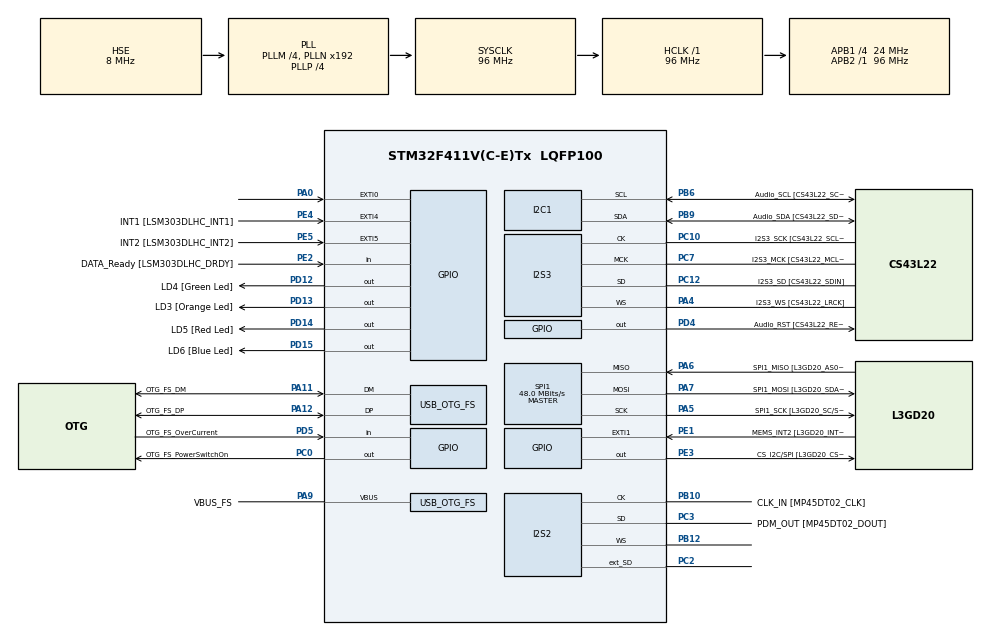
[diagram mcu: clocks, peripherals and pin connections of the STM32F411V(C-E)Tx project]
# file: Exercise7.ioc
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FREERTOS.Tasks01=GreenLEDTask,0,128,StartGreenLEDTask,Default,NULL,Dynamic,NULL,NULL;RedLEDTask,0,128,StartRedLEDTask,Default,NULL,Dynamic,NULL,NULL;OrangeLEDTask,1,128,StartOrangeLEDTask,Default,NULL,Dynamic,NULL,NULL
I2S2.AudioFreq=I2S_AUDIOFREQ_96K
I2S2.ErrorAudioFreq=0.15 %
I2S2.FullDuplexMode=I2S_FULLDUPLEXMODE_ENABLE
I2S2.Instance=SPI$Index
I2S2.RealAudioFreq=96.153 KHz
I2S2.VirtualMode=I2S_MODE_MASTER
I2S3.AudioFreq=I2S_AUDIOFREQ_96K
I2S3.ErrorAudioFreq=-6.99 %
I2S3.FullDuplexMode=I2S_FULLDUPLEXMODE_DISABLE
I2S3.Instance=SPI$Index
I2S3.RealAudioFreq=89.285 KHz
I2S3.VirtualMode=I2S_MODE_MASTER
Mcu.Family=STM32F4
Mcu.Name=STM32F411V(C-E)Tx
Mcu.Package=LQFP100
NVIC.OTG_FS_IRQn=true\:5\:0\:false\:false\:true\:true\:true\:true
NVIC.PriorityGroup=NVIC_PRIORITYGROUP_4
NVIC.TIM1_UP_TIM10_IRQn=true\:0\:0\:false\:false\:true\:false\:false\:true
NVIC.TimeBase=TIM1_UP_TIM10_IRQn
NVIC.TimeBaseIP=TIM1
PA0-WKUP.GPIO_ModeDefaultEXTI=GPIO_MODE_EVT_RISING
PA0-WKUP.Signal=GPXTI0
PA10.GPIO_Label=OTG_FS_ID
PA10.Signal=USB_OTG_FS_ID
PA11.GPIO_Label=OTG_FS_DM
PA11.Mode=Host_Only
PA11.Signal=USB_OTG_FS_DM
PA12.GPIO_Label=OTG_FS_DP
PA12.Mode=Host_Only
PA12.Signal=USB_OTG_FS_DP
PA13.GPIO_Label=SWDIO
PA13.Mode=Serial_Wire
PA13.Signal=SYS_JTMS-SWDIO
PA14.GPIO_Label=SWCLK
PA14.Mode=Serial_Wire
PA14.Signal=SYS_JTCK-SWCLK
PA4.GPIO_Label=I2S3_WS [CS43L22_LRCK]
PA4.GPIO_Mode=GPIO_MODE_AF_PP
PA4.GPIO_PuPd=GPIO_NOPULL
PA4.GPIO_Speed=GPIO_SPEED_FREQ_LOW
PA4.Mode=Half_Duplex_Master
PA4.Signal=I2S3_WS
PA5.GPIO_Label=SPI1_SCK [L3GD20_SC/SPC]
PA5.Mode=Full_Duplex_Master
PA5.Signal=SPI1_SCK
PA6.GPIO_Label=SPI1_MISO [L3GD20_AS0/SDO]
PA6.Mode=Full_Duplex_Master
PA6.Signal=SPI1_MISO
PA7.GPIO_Label=SPI1_MOSI [L3GD20_SDA/SDI/SDO]
PA7.Mode=Full_Duplex_Master
PA7.Signal=SPI1_MOSI
PA9.GPIO_Label=VBUS_FS
PA9.Mode=Activate_VBUS
PA9.Signal=USB_OTG_FS_VBUS
PB10.GPIO_Label=CLK_IN [MP45DT02_CLK]
PB10.Mode=Full_Duplex_Master
PB10.Signal=I2S2_CK
PB12.Mode=Full_Duplex_Master
PB12.Signal=I2S2_WS
PB3.GPIO_Label=SWO
PB3.Signal=SYS_JTDO-SWO
PB6.GPIO_Label=Audio_SCL [CS43L22_SCL]
PB6.GPIO_Mode=GPIO_MODE_AF_OD
PB6.GPIO_PuPd=GPIO_NOPULL
PB6.GPIO_Speed=GPIO_SPEED_FREQ_LOW
PB6.Mode=I2C
PB6.Signal=I2C1_SCL
PB9.GPIO_Label=Audio_SDA [CS43L22_SDA]
PB9.GPIO_Mode=GPIO_MODE_AF_OD
PB9.GPIO_PuPd=GPIO_NOPULL
PB9.GPIO_Speed=GPIO_SPEED_FREQ_LOW
PB9.Mode=I2C
PB9.Signal=I2C1_SDA
PC0.GPIO_Label=OTG_FS_PowerSwitchOn
PC0.PinState=GPIO_PIN_SET
PC0.Signal=GPIO_Output
PC10.GPIO_Label=I2S3_SCK [CS43L22_SCLK]
PC10.GPIO_Mode=GPIO_MODE_AF_PP
PC10.GPIO_PuPd=GPIO_NOPULL
PC10.GPIO_Speed=GPIO_SPEED_FREQ_LOW
PC10.Mode=Half_Duplex_Master
PC10.Signal=I2S3_CK
PC12.GPIO_Label=I2S3_SD [CS43L22_SDIN]
PC12.GPIO_Mode=GPIO_MODE_AF_PP
PC12.GPIO_PuPd=GPIO_NOPULL
PC12.GPIO_Speed=GPIO_SPEED_FREQ_LOW
PC12.Mode=Half_Duplex_Master
PC12.Signal=I2S3_SD
PC14-OSC32_IN.GPIO_Label=PC14-OSC32_IN
PC14-OSC32_IN.Mode=LSE-External-Oscillator
PC14-OSC32_IN.Signal=RCC_OSC32_IN
PC15-OSC32_OUT.GPIO_Label=PC15-OSC32_OUT
PC15-OSC32_OUT.Mode=LSE-External-Oscillator
PC15-OSC32_OUT.Signal=RCC_OSC32_OUT
PC2.Mode=Full_Duplex_Master
PC2.Signal=I2S2_ext_SD
PC3.GPIO_Label=PDM_OUT [MP45DT02_DOUT]
PC3.Mode=Full_Duplex_Master
PC3.Signal=I2S2_SD
PC7.GPIO_Label=I2S3_MCK [CS43L22_MCLK]
PC7.GPIO_Mode=GPIO_MODE_AF_PP
PC7.GPIO_PuPd=GPIO_NOPULL
PC7.GPIO_Speed=GPIO_SPEED_FREQ_LOW
PC7.Mode=Master_Clock_Activated
PC7.Signal=I2S3_MCK
PD12.GPIO_Label=LD4 [Green Led]
PD12.GPIO_PuPd=GPIO_NOPULL
PD12.GPIO_Speed=GPIO_SPEED_FREQ_LOW
PD12.Signal=GPIO_Output
PD13.GPIO_Label=LD3 [Orange Led]
PD13.GPIO_PuPd=GPIO_NOPULL
PD13.GPIO_Speed=GPIO_SPEED_FREQ_LOW
PD13.Signal=GPIO_Output
PD14.GPIO_Label=LD5 [Red Led]
PD14.GPIO_PuPd=GPIO_NOPULL
PD14.GPIO_Speed=GPIO_SPEED_FREQ_LOW
PD14.Signal=GPIO_Output
PD15.GPIO_Label=LD6 [Blue Led]
PD15.GPIO_PuPd=GPIO_NOPULL
PD15.GPIO_Speed=GPIO_SPEED_FREQ_LOW
PD15.Signal=GPIO_Output
PD4.GPIO_Label=Audio_RST [CS43L22_RESET]
PD4.Signal=GPIO_Output
PD5.GPIO_Label=OTG_FS_OverCurrent
PD5.Signal=GPIO_Input
PE1.GPIO_Label=MEMS_INT2 [L3GD20_INT2]
PE1.GPIO_ModeDefaultEXTI=GPIO_MODE_EVT_RISING
PE1.Signal=GPXTI1
PE2.GPIO_Label=DATA_Ready [LSM303DLHC_DRDY]
PE2.Signal=GPIO_Input
PE3.GPIO_Label=CS_I2C/SPI [L3GD20_CS_I2C/SPI]
PE3.Signal=GPIO_Output
PE4.GPIO_Label=INT1 [LSM303DLHC_INT1]
PE4.GPIO_ModeDefaultEXTI=GPIO_MODE_EVT_RISING
PE4.Signal=GPXTI4
PE5.GPIO_Label=INT2 [LSM303DLHC_INT2]
PE5.GPIO_ModeDefaultEXTI=GPIO_MODE_EVT_RISING
PE5.Signal=GPXTI5
PH0\ -\ OSC_IN.GPIO_Label=PH0-OSC_IN
PH0\ -\ OSC_IN.Mode=HSE-External-Oscillator
PH0\ -\ OSC_IN.Signal=RCC_OSC_IN
PH1\ -\ OSC_OUT.GPIO_Label=PH1-OSC_OUT
PH1\ -\ OSC_OUT.Mode=HSE-External-Oscillator
PH1\ -\ OSC_OUT.Signal=RCC_OSC_OUT
ProjectManager.HeapSize=0x200
ProjectManager.StackSize=0x400
ProjectManager.TargetToolchain=STM32CubeIDE
RCC.48MHZClocksFreq_Value=48000000
RCC.AHBFreq_Value=96000000
RCC.APB1CLKDivider=RCC_HCLK_DIV4
RCC.APB1Freq_Value=24000000
RCC.APB1TimFreq_Value=48000000
RCC.APB2Freq_Value=96000000
RCC.APB2TimFreq_Value=96000000
RCC.CortexFreq_Value=96000000
RCC.HCLKFreq_Value=96000000
RCC.HSE_VALUE=8000000
RCC.HSI_VALUE=16000000
RCC.PLLI2SM=5
RCC.PLLI2SN=200
RCC.PLLM=4
RCC.PLLP=RCC_PLLP_DIV4
RCC.PLLQ=8
RCC.SYSCLKFreq_VALUE=96000000
RCC.SYSCLKSource=RCC_SYSCLKSOURCE_PLLCLK
RCC.VCOOutputFreq_Value=384000000
SPI1.BaudRatePrescaler=SPI_BAUDRATEPRESCALER_2
SPI1.CalculateBaudRate=48.0 MBits/s
SPI1.Direction=SPI_DIRECTION_2LINES
SPI1.Mode=SPI_MODE_MASTER
SPI1.VirtualType=VM_MASTER
USB_OTG_FS.VirtualMode=Host_Only
USB_OTG_FS.phy_itface=HCD_PHY_EMBEDDED
VP_FREERTOS_VS_CMSIS_V1.Mode=CMSIS_V1
VP_SYS_VS_tim1.Mode=TIM1
board=STM32F411E-DISCO

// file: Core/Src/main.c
/* USER CODE BEGIN Header */
/**
  ******************************************************************************
  * @file           : main.c
  * @brief          : Main program body
  ******************************************************************************
  * @attention
  *
  * <h2><center>&copy; Copyright (c) 2024 STMicroelectronics.
  * All rights reserved.</center></h2>
  *
  * This software component is licensed by ST under Ultimate Liberty license
  * SLA0044, the "License"; You may not use this file except in compliance with
  * the License. You may obtain a copy of the License at:
  *                             www.st.com/SLA0044
  *
  ******************************************************************************
  */
/* USER CODE END Header */

#include "main.h"
#include "cmsis_os.h"

I2C_HandleTypeDef hi2c1;

I2S_HandleTypeDef hi2s2;
I2S_HandleTypeDef hi2s3;

SPI_HandleTypeDef hspi1;

HCD_HandleTypeDef hhcd_USB_OTG_FS;

osThreadId GreenLEDTaskHandle;
osThreadId RedLEDTaskHandle;
osThreadId OrangeLEDTaskHandle;

void SystemClock_Config(void);
static void MX_GPIO_Init(void);
static void MX_I2C1_Init(void);
static void MX_I2S2_Init(void);
static void MX_I2S3_Init(void);
static void MX_SPI1_Init(void);
static void MX_USB_OTG_FS_HCD_Init(void);
void StartGreenLEDTask(void const * argument);
void StartRedLEDTask(void const * argument);
void StartOrangeLEDTask(void const * argument);

int main(void)
{

  /* MCU Configuration--------------------------------------------------------*/

  /* Reset of all peripherals, Initializes the Flash interface and the Systick. */
  HAL_Init();

  /* Configure the system clock */
  SystemClock_Config();

  /* Initialize all configured peripherals */
  MX_GPIO_Init();
  MX_I2C1_Init();
  MX_I2S2_Init();
  MX_I2S3_Init();
  MX_SPI1_Init();
  MX_USB_OTG_FS_HCD_Init();

  /* Create the thread(s) */
  /* definition and creation of GreenLEDTask */
  osThreadDef(GreenLEDTask, StartGreenLEDTask, osPriorityNormal, 0, 128);
  GreenLEDTaskHandle = osThreadCreate(osThread(GreenLEDTask), NULL);

  /* definition and creation of RedLEDTask */
  osThreadDef(RedLEDTask, StartRedLEDTask, osPriorityNormal, 0, 128);
  RedLEDTaskHandle = osThreadCreate(osThread(RedLEDTask), NULL);

  /* definition and creation of OrangeLEDTask */
  osThreadDef(OrangeLEDTask, StartOrangeLEDTask, osPriorityAboveNormal, 0, 128);
  OrangeLEDTaskHandle = osThreadCreate(osThread(OrangeLEDTask), NULL);

  /* Start scheduler */
  osKernelStart();

  /* We should never get here as control is now taken by the scheduler */

  /* Infinite loop */
  while (1)
  {

  }
}

void SystemClock_Config(void)
{
  RCC_OscInitTypeDef RCC_OscInitStruct = {0};
  RCC_ClkInitTypeDef RCC_ClkInitStruct = {0};
  RCC_PeriphCLKInitTypeDef PeriphClkInitStruct = {0};

  /** Configure the main internal regulator output voltage
  */
  __HAL_RCC_PWR_CLK_ENABLE();
  __HAL_PWR_VOLTAGESCALING_CONFIG(PWR_REGULATOR_VOLTAGE_SCALE1);
  /** Initializes the CPU, AHB and APB busses clocks
  */
  RCC_OscInitStruct.OscillatorType = RCC_OSCILLATORTYPE_HSE;
  RCC_OscInitStruct.HSEState = RCC_HSE_ON;
  RCC_OscInitStruct.PLL.PLLState = RCC_PLL_ON;
  RCC_OscInitStruct.PLL.PLLSource = RCC_PLLSOURCE_HSE;
  RCC_OscInitStruct.PLL.PLLM = 4;
  RCC_OscInitStruct.PLL.PLLN = 192;
  RCC_OscInitStruct.PLL.PLLP = RCC_PLLP_DIV4;
  RCC_OscInitStruct.PLL.PLLQ = 8;
  if (HAL_RCC_OscConfig(&RCC_OscInitStruct) != HAL_OK)
  {
    Error_Handler();
  }
  /** Initializes the CPU, AHB and APB busses clocks
  */
  RCC_ClkInitStruct.ClockType = RCC_CLOCKTYPE_HCLK|RCC_CLOCKTYPE_SYSCLK
                              |RCC_CLOCKTYPE_PCLK1|RCC_CLOCKTYPE_PCLK2;
  RCC_ClkInitStruct.SYSCLKSource = RCC_SYSCLKSOURCE_PLLCLK;
  RCC_ClkInitStruct.AHBCLKDivider = RCC_SYSCLK_DIV1;
  RCC_ClkInitStruct.APB1CLKDivider = RCC_HCLK_DIV4;
  RCC_ClkInitStruct.APB2CLKDivider = RCC_HCLK_DIV1;

  if (HAL_RCC_ClockConfig(&RCC_ClkInitStruct, FLASH_LATENCY_3) != HAL_OK)
  {
    Error_Handler();
  }
  PeriphClkInitStruct.PeriphClockSelection = RCC_PERIPHCLK_I2S;
  PeriphClkInitStruct.PLLI2S.PLLI2SN = 200;
  PeriphClkInitStruct.PLLI2S.PLLI2SM = 5;
  PeriphClkInitStruct.PLLI2S.PLLI2SR = 2;
  if (HAL_RCCEx_PeriphCLKConfig(&PeriphClkInitStruct) != HAL_OK)
  {
    Error_Handler();
  }
}

static void MX_I2C1_Init(void)
{

  hi2c1.Instance = I2C1;
  hi2c1.Init.ClockSpeed = 100000;
  hi2c1.Init.DutyCycle = I2C_DUTYCYCLE_2;
  hi2c1.Init.OwnAddress1 = 0;
  hi2c1.Init.AddressingMode = I2C_ADDRESSINGMODE_7BIT;
  hi2c1.Init.DualAddressMode = I2C_DUALADDRESS_DISABLE;
  hi2c1.Init.OwnAddress2 = 0;
  hi2c1.Init.GeneralCallMode = I2C_GENERALCALL_DISABLE;
  hi2c1.Init.NoStretchMode = I2C_NOSTRETCH_DISABLE;
  if (HAL_I2C_Init(&hi2c1) != HAL_OK)
  {
    Error_Handler();
  }

}

static void MX_I2S2_Init(void)
{

  hi2s2.Instance = SPI2;
  hi2s2.Init.Mode = I2S_MODE_MASTER_TX;
  hi2s2.Init.Standard = I2S_STANDARD_PHILIPS;
  hi2s2.Init.DataFormat = I2S_DATAFORMAT_16B;
  hi2s2.Init.MCLKOutput = I2S_MCLKOUTPUT_DISABLE;
  hi2s2.Init.AudioFreq = I2S_AUDIOFREQ_96K;
  hi2s2.Init.CPOL = I2S_CPOL_LOW;
  hi2s2.Init.ClockSource = I2S_CLOCK_PLL;
  hi2s2.Init.FullDuplexMode = I2S_FULLDUPLEXMODE_ENABLE;
  if (HAL_I2S_Init(&hi2s2) != HAL_OK)
  {
    Error_Handler();
  }

}

static void MX_I2S3_Init(void)
{

  hi2s3.Instance = SPI3;
  hi2s3.Init.Mode = I2S_MODE_MASTER_TX;
  hi2s3.Init.Standard = I2S_STANDARD_PHILIPS;
  hi2s3.Init.DataFormat = I2S_DATAFORMAT_16B;
  hi2s3.Init.MCLKOutput = I2S_MCLKOUTPUT_ENABLE;
  hi2s3.Init.AudioFreq = I2S_AUDIOFREQ_96K;
  hi2s3.Init.CPOL = I2S_CPOL_LOW;
  hi2s3.Init.ClockSource = I2S_CLOCK_PLL;
  hi2s3.Init.FullDuplexMode = I2S_FULLDUPLEXMODE_DISABLE;
  if (HAL_I2S_Init(&hi2s3) != HAL_OK)
  {
    Error_Handler();
  }

}

static void MX_SPI1_Init(void)
{

  /* SPI1 parameter configuration*/
  hspi1.Instance = SPI1;
  hspi1.Init.Mode = SPI_MODE_MASTER;
  hspi1.Init.Direction = SPI_DIRECTION_2LINES;
  hspi1.Init.DataSize = SPI_DATASIZE_8BIT;
  hspi1.Init.CLKPolarity = SPI_POLARITY_LOW;
  hspi1.Init.CLKPhase = SPI_PHASE_1EDGE;
  hspi1.Init.NSS = SPI_NSS_SOFT;
  hspi1.Init.BaudRatePrescaler = SPI_BAUDRATEPRESCALER_2;
  hspi1.Init.FirstBit = SPI_FIRSTBIT_MSB;
  hspi1.Init.TIMode = SPI_TIMODE_DISABLE;
  hspi1.Init.CRCCalculation = SPI_CRCCALCULATION_DISABLE;
  hspi1.Init.CRCPolynomial = 10;
  if (HAL_SPI_Init(&hspi1) != HAL_OK)
  {
    Error_Handler();
  }

}

static void MX_USB_OTG_FS_HCD_Init(void)
{

  hhcd_USB_OTG_FS.Instance = USB_OTG_FS;
  hhcd_USB_OTG_FS.Init.Host_channels = 8;
  hhcd_USB_OTG_FS.Init.speed = HCD_SPEED_FULL;
  hhcd_USB_OTG_FS.Init.dma_enable = DISABLE;
  hhcd_USB_OTG_FS.Init.phy_itface = HCD_PHY_EMBEDDED;
  hhcd_USB_OTG_FS.Init.Sof_enable = DISABLE;
  if (HAL_HCD_Init(&hhcd_USB_OTG_FS) != HAL_OK)
  {
    Error_Handler();
  }

}

static void MX_GPIO_Init(void)
{
  GPIO_InitTypeDef GPIO_InitStruct = {0};

  /* GPIO Ports Clock Enable */
  __HAL_RCC_GPIOE_CLK_ENABLE();
  __HAL_RCC_GPIOC_CLK_ENABLE();
  __HAL_RCC_GPIOH_CLK_ENABLE();
  __HAL_RCC_GPIOA_CLK_ENABLE();
  __HAL_RCC_GPIOB_CLK_ENABLE();
  __HAL_RCC_GPIOD_CLK_ENABLE();

  /*Configure GPIO pin Output Level */
  HAL_GPIO_WritePin(CS_I2C_SPI_GPIO_Port, CS_I2C_SPI_Pin, GPIO_PIN_RESET);

  /*Configure GPIO pin Output Level */
  HAL_GPIO_WritePin(OTG_FS_PowerSwitchOn_GPIO_Port, OTG_FS_PowerSwitchOn_Pin, GPIO_PIN_SET);

  /*Configure GPIO pin Output Level */
  HAL_GPIO_WritePin(GPIOD, LD4_Pin|LD3_Pin|LD5_Pin|LD6_Pin
                          |Audio_RST_Pin, GPIO_PIN_RESET);

  /*Configure GPIO pin : DATA_Ready_Pin */
  GPIO_InitStruct.Pin = DATA_Ready_Pin;
  GPIO_InitStruct.Mode = GPIO_MODE_INPUT;
  GPIO_InitStruct.Pull = GPIO_NOPULL;
  HAL_GPIO_Init(DATA_Ready_GPIO_Port, &GPIO_InitStruct);

  /*Configure GPIO pin : CS_I2C_SPI_Pin */
  GPIO_InitStruct.Pin = CS_I2C_SPI_Pin;
  GPIO_InitStruct.Mode = GPIO_MODE_OUTPUT_PP;
  GPIO_InitStruct.Pull = GPIO_NOPULL;
  GPIO_InitStruct.Speed = GPIO_SPEED_FREQ_LOW;
  HAL_GPIO_Init(CS_I2C_SPI_GPIO_Port, &GPIO_InitStruct);

  /*Configure GPIO pins : INT1_Pin INT2_Pin MEMS_INT2_Pin */
  GPIO_InitStruct.Pin = INT1_Pin|INT2_Pin|MEMS_INT2_Pin;
  GPIO_InitStruct.Mode = GPIO_MODE_EVT_RISING;
  GPIO_InitStruct.Pull = GPIO_NOPULL;
  HAL_GPIO_Init(GPIOE, &GPIO_InitStruct);

  /*Configure GPIO pin : OTG_FS_PowerSwitchOn_Pin */
  GPIO_InitStruct.Pin = OTG_FS_PowerSwitchOn_Pin;
  GPIO_InitStruct.Mode = GPIO_MODE_OUTPUT_PP;
  GPIO_InitStruct.Pull = GPIO_NOPULL;
  GPIO_InitStruct.Speed = GPIO_SPEED_FREQ_LOW;
  HAL_GPIO_Init(OTG_FS_PowerSwitchOn_GPIO_Port, &GPIO_InitStruct);

  /*Configure GPIO pin : PA0 */
  GPIO_InitStruct.Pin = GPIO_PIN_0;
  GPIO_InitStruct.Mode = GPIO_MODE_EVT_RISING;
  GPIO_InitStruct.Pull = GPIO_NOPULL;
  HAL_GPIO_Init(GPIOA, &GPIO_InitStruct);

  /*Configure GPIO pins : LD4_Pin LD3_Pin LD5_Pin LD6_Pin
                           Audio_RST_Pin */
  GPIO_InitStruct.Pin = LD4_Pin|LD3_Pin|LD5_Pin|LD6_Pin
                          |Audio_RST_Pin;
  GPIO_InitStruct.Mode = GPIO_MODE_OUTPUT_PP;
  GPIO_InitStruct.Pull = GPIO_NOPULL;
  GPIO_InitStruct.Speed = GPIO_SPEED_FREQ_LOW;
  HAL_GPIO_Init(GPIOD, &GPIO_InitStruct);

  /*Configure GPIO pin : OTG_FS_OverCurrent_Pin */
  GPIO_InitStruct.Pin = OTG_FS_OverCurrent_Pin;
  GPIO_InitStruct.Mode = GPIO_MODE_INPUT;
  GPIO_InitStruct.Pull = GPIO_NOPULL;
  HAL_GPIO_Init(OTG_FS_OverCurrent_GPIO_Port, &GPIO_InitStruct);

}

/* USER CODE BEGIN 4 */
int Start_Flag = 1;
void Access_Function()
{
	if (Start_Flag == 1)
	{
		Start_Flag = 0;
	}
	else
	{
		HAL_GPIO_TogglePin(GPIOD, GPIO_PIN_15);
	}
	for(int i = 0; i < 2000000; ++i);
	Start_Flag = 1;
	return;
}
/* USER CODE END 4 */

void StartGreenLEDTask(void const * argument)
{
  /* USER CODE BEGIN 5 */
  /* Infinite loop */
  for(;;)
  {
	HAL_GPIO_WritePin(GPIOD, GPIO_PIN_12,GPIO_PIN_SET);//turn on green led
	taskENTER_CRITICAL(); //disable interrupts
    Access_Function();
    taskEXIT_CRITICAL(); //enable interrupts
	osDelay(200);//200 ms delay
	HAL_GPIO_WritePin(GPIOD, GPIO_PIN_12,GPIO_PIN_RESET);//turn off green led
	osDelay(200);//200 ms delay
  }
  /* USER CODE END 5 */
}

void StartRedLEDTask(void const * argument)
{
  /* USER CODE BEGIN StartRedLEDTask */
  /* Infinite loop */
  for(;;)
  {
	HAL_GPIO_WritePin(GPIOD, GPIO_PIN_14,GPIO_PIN_SET);
	taskENTER_CRITICAL(); //disable interrupts
    Access_Function();
    taskEXIT_CRITICAL(); //enable interrupts
	osDelay(550);//550 ms delay
	HAL_GPIO_WritePin(GPIOD, GPIO_PIN_14,GPIO_PIN_RESET);
	osDelay(550);//550 ms delay
  }
  /* USER CODE END StartRedLEDTask */
}

void StartOrangeLEDTask(void const * argument)
{
  /* USER CODE BEGIN StartOrangeLEDTask */
  /* Infinite loop */
  for(;;)
  {
	HAL_GPIO_TogglePin(GPIOD, GPIO_PIN_13);//toggle orange led
	osDelay(50);//50 ms delay
  }
  /* USER CODE END StartOrangeLEDTask */
}

void HAL_TIM_PeriodElapsedCallback(TIM_HandleTypeDef *htim)
{
  if (htim->Instance == TIM1) {
    HAL_IncTick();
  }
}

void Error_Handler(void)
{
}

/************************ (C) COPYRIGHT STMicroelectronics *****END OF FILE****/
